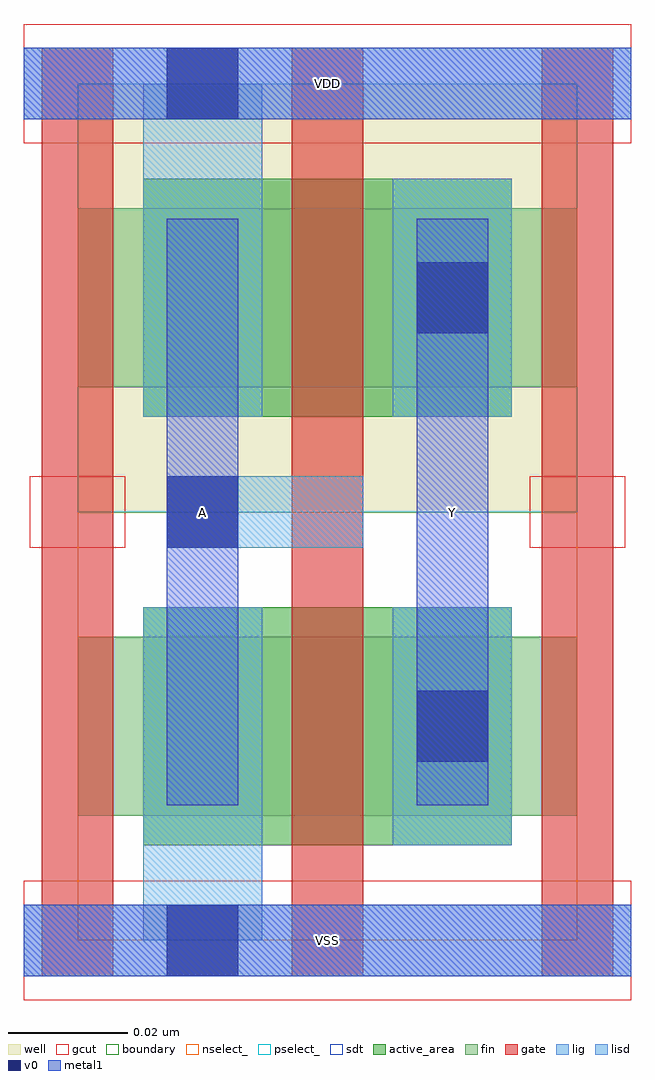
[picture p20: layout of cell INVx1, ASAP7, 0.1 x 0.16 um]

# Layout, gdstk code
import gdstk
lib = gdstk.Library(unit=1e-6, precision=2.5e-10)
def R(c, l, rs):  # rectangles x0, y0, x1, y1
    for r in rs: c.add(gdstk.rectangle(r[:2], r[2:], *l))
def A(c, l, x, y, w, h, nx, ny, dx, dy):  # array of equal rectangles
    R(c, l, [(x+i*dx, y+j*dy, x+i*dx+w, y+j*dy+h) for i in range(nx) for j in range(ny)])
well = (1, 0)
fin = (2, 0)
gate = (7, 0)
gcut = (10, 0)
active_area = (11, 0)
nselect_ = (12, 0)
pselect_ = (13, 0)
lig = (16, 0)
lisd = (17, 0)
v0 = (18, 0)
metal1 = (19, 0)
sdt = (88, 0)
boundary = (100, 0)

invx1 = lib.new_cell('INVx1')
R(invx1, well, [(0,0.072,0.084,0.144)])
R(invx1, fin, [(0,0.021,0.084,0.051), (0,0.093,0.084,0.123)])
A(invx1, gate, -0.006, -0.006, 0.012, 0.156, 3, 1, 0.042, 0)
R(invx1, gcut, [(-0.009,-0.01,0.093,0.01), (-0.008,0.066,0.008,0.078), (0.076,0.066,0.092,0.078), (-0.009,0.134,0.093,0.154)])
R(invx1, active_area, [(0.011,0.016,0.073,0.056), (0.011,0.088,0.073,0.128)])
R(invx1, nselect_, [(0,0,0.084,0.072)])
R(invx1, pselect_, [(0,0.072,0.084,0.144)])
R(invx1, lig, [(-0.009,-0.006,0.093,0.006), (0.015,0.066,0.048,0.078), (-0.009,0.138,0.093,0.15)])
R(invx1, lisd, [(0.011,0,0.031,0.056), (0.053,0.016,0.073,0.056), (0.011,0.088,0.031,0.144), (0.053,0.088,0.073,0.128)])
A(invx1, v0, 0.015, -0.006, 0.012, 0.012, 1, 3, 0, 0.072)
R(invx1, v0, [(0.057,0.03,0.069,0.042), (0.057,0.102,0.069,0.114)])
R(invx1, metal1, [(-0.009,-0.006,0.093,0.006), (0.015,0.0227,0.027,0.1212), (0.057,0.0227,0.069,0.1212), (-0.009,0.138,0.093,0.15)])
R(invx1, sdt, [(0.053,0.016,0.073,0.056), (0.011,0.021,0.031,0.051), (0.011,0.088,0.031,0.123), (0.053,0.088,0.073,0.128)])
R(invx1, boundary, [(0,0,0.084,0.144)])
invx1.add(gdstk.Label('Y', (0.063,0.072), layer=19, texttype=251))
invx1.add(gdstk.Label('A', (0.021,0.072), layer=19, texttype=251))
invx1.add(gdstk.Label('VSS', (0.042,0), layer=19, texttype=251))
invx1.add(gdstk.Label('VDD', (0.042,0.144), layer=19, texttype=251))

lib.write_gds('INVx1.gds')
